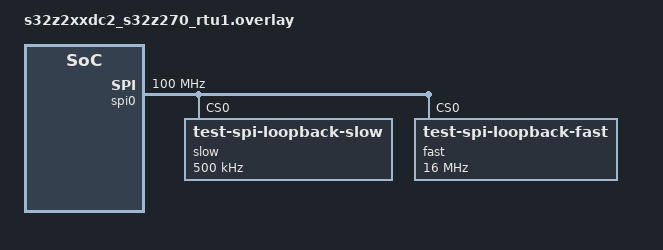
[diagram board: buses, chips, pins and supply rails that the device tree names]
/*
 * Copyright 2024 NXP
 *
 * SPDX-License-Identifier: Apache-2.0
 */

&edma5 {
	status = "okay";
};

tst_dma0: &edma5 {};

#include <zephyr/dt-bindings/memory-attr/memory-attr-arm.h>

/ {
	soc {
		sram_nocache: memory@35870000 {
			compatible = "zephyr,memory-region", "mmio-sram";
			reg = <0x35870000 DT_SIZE_K(64)>;
			zephyr,memory-region = "SRAMNOCACHE";
			zephyr,memory-attr = <DT_MEM_ARM(ATTR_MPU_RAM_NOCACHE)>;
		};
	};
};

&dram1 {
	compatible = "mmio-sram";
	reg = <0x35780000 DT_SIZE_K(960)>;
};

tst_dma0: &edma5 {
	status = "okay";
};

&pinctrl {
	spi0_default: spi0_default {
		group1 {
			pinmux = <PA8_DSPI_0_SOUT>, <PA6_DSPI_0_SCK_O>, <PA2_DSPI_0_PCS0_O>;
			output-enable;
		};
		group2 {
			pinmux = <PA7_DSPI_0_SIN>;
			input-enable;
		};
	};
};

&spi0 {
	pinctrl-0 = <&spi0_default>;
	pinctrl-names = "default";
	clock-frequency = <100000000>;
	status = "okay";
	slow@0 {
		compatible = "test-spi-loopback-slow";
		reg = <0>;
		spi-max-frequency = <500000>;
	};
	fast@0 {
		compatible = "test-spi-loopback-fast";
		reg = <0>;
		spi-max-frequency = <16000000>;
	};
};

#include "s32z2xxdc2_s32z270_rtu0.overlay"
